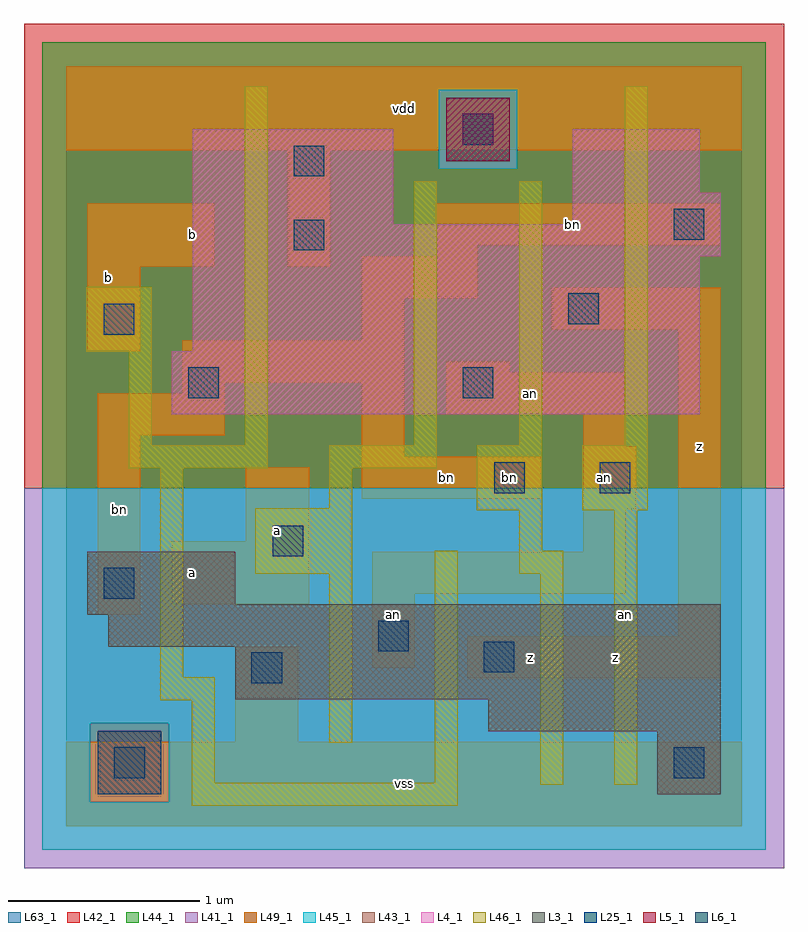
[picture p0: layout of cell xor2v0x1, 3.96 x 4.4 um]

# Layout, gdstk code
import gdstk
lib = gdstk.Library(unit=1e-6, precision=1e-09)
def R(c, l, rs):  # rectangles x0, y0, x1, y1
    for r in rs: c.add(gdstk.rectangle(r[:2], r[2:], *l))
L3_1 = (3, 1)
L4_1 = (4, 1)
L5_1 = (5, 1)
L6_1 = (6, 1)
L25_1 = (25, 1)
L41_1 = (41, 1)
L42_1 = (42, 1)
L43_1 = (43, 1)
L44_1 = (44, 1)
L45_1 = (45, 1)
L46_1 = (46, 1)
L49_1 = (49, 1)
L63_1 = (63, 1)

xor2v0x1 = lib.new_cell('xor2v0x1')
R(xor2v0x1, L3_1, [(3.08,0.165,3.41,0.495), (2.2,0.495,3.41,0.66), (0.88,0.66,3.41,0.935), (0.22,0.935,3.41,1.1), (0.11,1.1,3.41,1.155), (0.11,1.155,0.88,1.43)])
R(xor2v0x1, L4_1, [(0.55,2.145,3.3,2.475), (0.66,2.475,3.3,2.97), (0.66,2.97,3.41,3.135), (0.66,3.135,1.705,3.63), (2.64,3.135,3.41,3.3), (2.64,3.3,3.3,3.63)])
R(xor2v0x1, L5_1, [(1.98,3.465,2.31,3.795)])
R(xor2v0x1, L6_1, [(0.165,0.165,0.495,0.495)])
R(xor2v0x1, L25_1, [(0.25,0.25,0.41,0.41), (3.165,0.25,3.325,0.41), (0.965,0.745,1.125,0.905), (2.175,0.8,2.335,0.96), (1.625,0.91,1.785,1.07), (0.195,1.185,0.355,1.345), (1.075,1.405,1.235,1.565), (2.23,1.735,2.39,1.895), (2.78,1.735,2.94,1.895), (0.635,2.23,0.795,2.39), (2.065,2.23,2.225,2.39), (0.195,2.56,0.355,2.72), (2.615,2.615,2.775,2.775), (1.185,3,1.345,3.16), (3.165,3.055,3.325,3.215), (1.185,3.385,1.345,3.545), (2.065,3.55,2.225,3.71)])
R(xor2v0x1, L41_1, [(-0.22,-0.22,3.74,1.76)])
R(xor2v0x1, L42_1, [(-0.22,1.76,3.74,4.18)])
R(xor2v0x1, L43_1, [(0.165,0.165,0.495,0.495), (3.08,0.165,3.41,0.495), (2.2,0.495,3.41,0.66), (0.88,0.66,3.41,0.935), (0.22,0.935,3.41,1.1), (0.11,1.1,3.41,1.155), (0.11,1.155,0.88,1.43), (0.55,2.145,3.3,2.475), (0.66,2.475,3.3,2.97), (0.66,2.97,3.41,3.135), (0.66,3.135,1.705,3.63), (2.64,3.135,3.41,3.3), (2.64,3.3,3.3,3.63), (1.98,3.465,2.31,3.795)])
R(xor2v0x1, L44_1, [(0.125,0.125,0.535,0.535), (-0.125,1.76,3.645,3.425), (-0.125,3.425,1.94,3.835), (2.35,3.425,3.645,3.835), (-0.125,3.835,3.645,4.085)])
R(xor2v0x1, L45_1, [(-0.125,-0.125,3.645,0.125), (-0.125,0.125,0.125,0.535), (0.535,0.125,3.645,0.535), (-0.125,0.535,3.645,1.76), (1.94,3.425,2.35,3.835)])
R(xor2v0x1, L46_1, [(0.655,0.105,2.04,0.225), (2.47,0.215,2.59,1.315), (2.855,0.215,2.975,1.645), (0.655,0.225,0.775,0.655), (1.92,0.225,2.04,1.435), (1.37,0.435,1.49,1.315), (0.49,0.655,0.775,0.775), (0.49,0.775,0.61,1.865), (0.985,1.315,1.49,1.655), (2.36,1.315,2.59,1.435), (2.36,1.435,2.48,1.645), (2.14,1.645,2.48,1.985), (2.69,1.645,3.03,1.985), (1.37,1.655,1.49,1.865), (0.325,1.865,1.05,1.985), (1.37,1.865,1.93,1.985), (0.325,1.985,0.445,2.47), (0.93,1.985,1.05,3.855), (1.81,1.985,1.93,3.36), (2.36,1.985,2.48,3.36), (2.91,1.985,3.03,3.855), (0.105,2.47,0.445,2.81)])
R(xor2v0x1, L49_1, [(0,0,3.52,0.44), (0.88,0.44,1.21,0.935), (2.09,0.77,3.41,0.99), (1.595,0.825,1.815,1.21), (3.19,0.99,3.41,2.585), (0.165,1.1,0.385,2.035), (0.55,1.155,1.265,1.485), (1.595,1.21,2.915,1.43), (2.695,1.43,2.915,1.65), (0.935,1.485,1.265,1.87), (2.695,1.65,2.97,1.98), (1.54,1.705,2.475,1.925), (1.54,1.925,1.76,2.31), (2.695,1.98,2.915,2.145), (0.165,2.035,0.825,2.255), (1.98,2.145,2.915,2.365), (0.605,2.255,0.825,2.31), (0.605,2.31,1.76,2.53), (1.98,2.365,2.31,2.42), (0.11,2.475,0.385,2.915), (1.54,2.53,1.76,2.75), (2.53,2.585,3.41,2.805), (1.54,2.75,2.145,2.97), (0.11,2.915,0.77,3.245), (1.155,2.915,1.375,3.52), (1.925,2.97,2.145,3.025), (1.925,3.025,3.41,3.245), (0,3.52,3.52,3.96)])
R(xor2v0x1, L63_1, [(0,0,3.52,3.96)])
xor2v0x1.add(gdstk.Label('bn', (2.31,1.815), layer=49, texttype=1))
xor2v0x1.add(gdstk.Label('an', (2.915,1.1), layer=46, texttype=1))
xor2v0x1.add(gdstk.Label('a', (0.66,1.32), layer=49, texttype=1))
xor2v0x1.add(gdstk.Label('bn', (0.275,1.65), layer=49, texttype=1))
xor2v0x1.add(gdstk.Label('b', (0.22,2.86), layer=49, texttype=1))
xor2v0x1.add(gdstk.Label('b', (0.66,3.08), layer=49, texttype=1))
xor2v0x1.add(gdstk.Label('a', (1.1,1.54), layer=49, texttype=1))
xor2v0x1.add(gdstk.Label('vss', (1.76,0.22), layer=49, texttype=1))
xor2v0x1.add(gdstk.Label('z', (2.42,0.88), layer=49, texttype=1))
xor2v0x1.add(gdstk.Label('an', (1.705,1.1), layer=49, texttype=1))
xor2v0x1.add(gdstk.Label('bn', (1.98,1.815), layer=49, texttype=1))
xor2v0x1.add(gdstk.Label('vdd', (1.76,3.74), layer=49, texttype=1))
xor2v0x1.add(gdstk.Label('z', (2.86,0.88), layer=49, texttype=1))
xor2v0x1.add(gdstk.Label('z', (3.3,1.98), layer=49, texttype=1))
xor2v0x1.add(gdstk.Label('an', (2.805,1.815), layer=49, texttype=1))
xor2v0x1.add(gdstk.Label('an', (2.42,2.255), layer=49, texttype=1))
xor2v0x1.add(gdstk.Label('bn', (2.64,3.135), layer=49, texttype=1))

lib.write_gds('xor2v0x1.gds')
